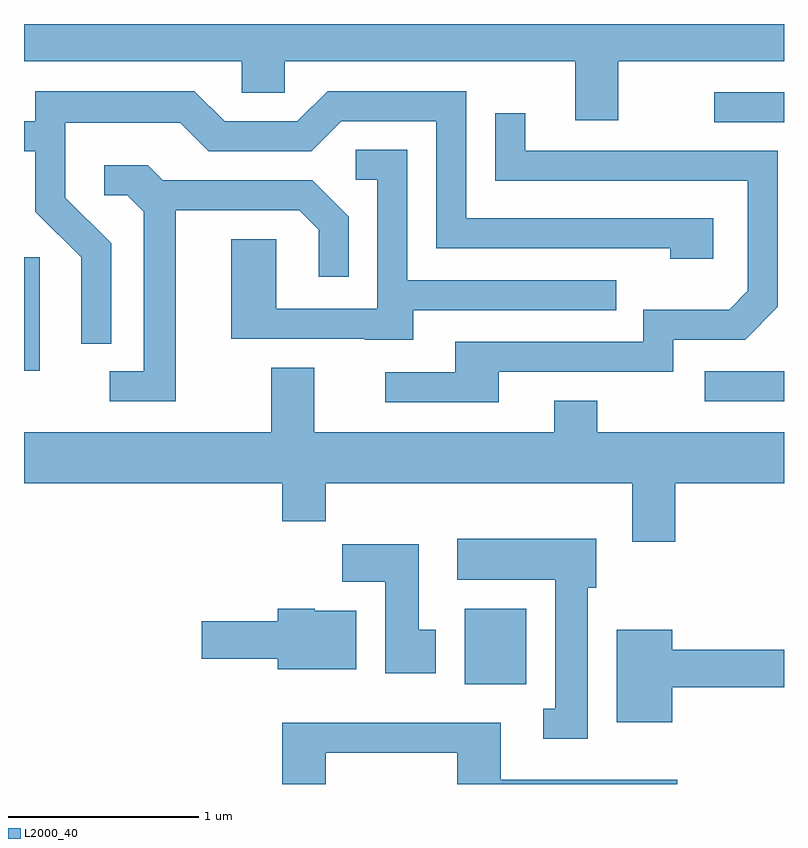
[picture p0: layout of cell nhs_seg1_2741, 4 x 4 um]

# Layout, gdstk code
import gdstk
lib = gdstk.Library(unit=1e-6, precision=1e-09)
def R(c, l, rs):  # rectangles x0, y0, x1, y1
    for r in rs: c.add(gdstk.rectangle(r[:2], r[2:], *l))
def P(c, l, *ps):  # polygons
    for p in ps: c.add(gdstk.Polygon(p, *l))
L2000_40 = (2000, 40)

nhs_seg1_2741 = lib.new_cell('nhs_seg1_2741')
R(nhs_seg1_2741, L2000_40, [(269.931,956.236,270.254,956.634), (271.193,957.726,271.611,957.884), (267.611,957.886,267.694,958.484), (271.243,959.196,271.611,959.354)])
P(nhs_seg1_2741, L2000_40, [(270.739,959.516),(271.611,959.516),(271.611,959.712),(267.611,959.712),(267.611,959.516),(268.756,959.516),(268.756,959.351),(268.984,959.351),(268.984,959.516),(270.511,959.516),(270.511,959.206),(270.739,959.206)],
  [(268.069,958.557),(267.829,958.797),(267.829,959.191),(268.434,959.191),(268.584,959.041),(269.122,959.041),(269.282,959.201),(269.781,959.201),(269.781,958.531),(271.011,958.531),(271.011,958.476),(271.239,958.476),(271.239,958.689),(269.939,958.689),(269.939,959.359),(269.209,959.359),(269.049,959.199),(268.667,959.199),(268.507,959.359),(267.671,959.359),(267.671,959.199),(267.611,959.199),(267.611,959.041),(267.671,959.041),(267.671,958.724),(267.911,958.484),(267.911,958.028),(268.069,958.028)],
  [(270.109,957.881),(271.029,957.881),(271.029,958.051),(271.407,958.051),(271.579,958.224),(271.579,959.044),(270.249,959.044),(270.249,959.243),(270.091,959.243),(270.091,958.886),(271.421,958.886),(271.421,958.307),(271.324,958.209),(270.871,958.209),(270.871,958.039),(269.881,958.039),(269.881,957.879),(269.513,957.879),(269.513,957.721),(270.109,957.721)],
  [(269.659,958.206),(270.728,958.206),(270.728,958.364),(269.629,958.364),(269.629,959.049),(269.358,959.049),(269.358,958.891),(269.471,958.891),(269.471,958.214),(268.939,958.214),(268.939,958.579),(268.701,958.579),(268.701,958.056),(269.405,958.056),(269.405,958.051),(269.659,958.051)],
  [(268.409,958.731),(269.059,958.731),(269.161,958.629),(269.161,958.383),(269.319,958.383),(269.319,958.697),(269.127,958.889),(268.342,958.889),(268.262,958.969),(268.033,958.969),(268.033,958.811),(268.154,958.811),(268.241,958.724),(268.241,957.884),(268.063,957.884),(268.063,957.726),(268.409,957.726)],
  [(271.039,957.296),(271.611,957.296),(271.611,957.564),(270.629,957.564),(270.629,957.729),(270.401,957.729),(270.401,957.564),(269.139,957.564),(269.139,957.904),(268.911,957.904),(268.911,957.564),(267.611,957.564),(267.611,957.296),(268.971,957.296),(268.971,957.096),(269.199,957.096),(269.199,957.296),(270.811,957.296),(270.811,956.986),(271.039,956.986)],
  [(270.579,956.746),(270.624,956.746),(270.624,957.004),(269.891,957.004),(269.891,956.786),(270.406,956.786),(270.406,956.109),(270.343,956.109),(270.343,955.951),(270.579,955.951)],
  [(269.779,956.524),(269.689,956.524),(269.689,956.974),(269.286,956.974),(269.286,956.776),(269.511,956.776),(269.511,956.296),(269.779,956.296)],
  [(269.359,956.624),(269.14,956.624),(269.14,956.634),(268.946,956.634),(268.946,956.569),(268.546,956.569),(268.546,956.371),(268.946,956.371),(268.946,956.316),(269.359,956.316)],
  [(271.024,956.221),(271.611,956.221),(271.611,956.419),(271.024,956.419),(271.024,956.524),(270.731,956.524),(270.731,956.036),(271.024,956.036)],
  [(269.199,955.876),(269.891,955.876),(269.891,955.712),(271.048,955.712),(271.048,955.734),(270.119,955.734),(270.119,956.034),(268.971,956.034),(268.971,955.712),(269.199,955.712)])

lib.write_gds('nhs_seg1_2741.gds')
